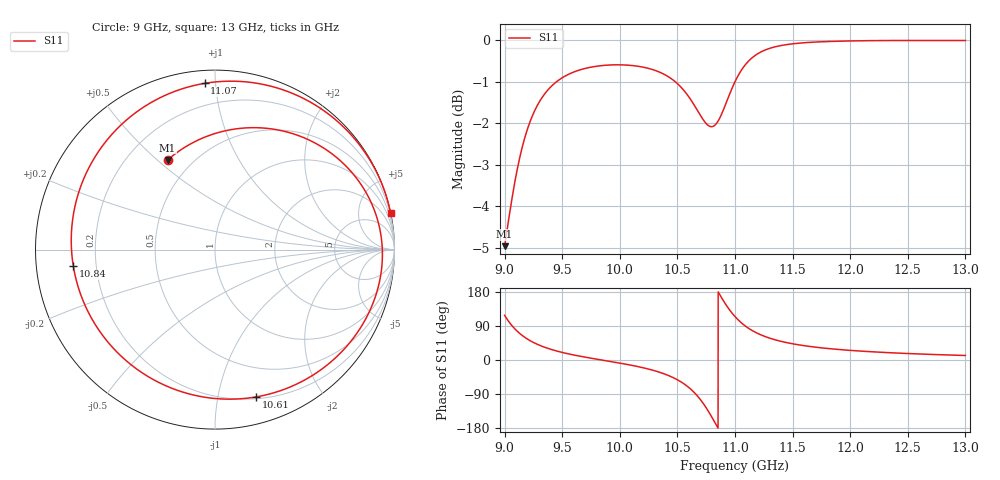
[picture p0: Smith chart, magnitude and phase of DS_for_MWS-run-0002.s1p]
! TOUCHSTONE file generated by CST DESIGN STUDIO
! Date and time: Wed Feb  5 13:36:07 2025
! Project name: C:\Work\MatlabApps\UnitCellOptimizationMatlab\CST\unitcell.cst
! Tree item: Tasks\Sweep1\SPara1\S-Parameters
! Header version: 2024
! Port assignment regex: !\s*Touchstone port\s*([0-9]+)\s*=\s*(CST MWS port|CST DES external port|CST DES block port)\s*(.+)\s* \(\"(.*)\"\)(\s*mode\s*([0-9]+))?.*
! Touchstone port assignment:
! Touchstone port 1 = CST DES external port 1 ("")
# GHz S MA R 50
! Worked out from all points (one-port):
!   4001 points, 9 GHz to 13 GHz, reference 50 ohm
!   lowest |S11| = -5.0 dB at 9 GHz (marker M1), VSWR 3.60, Z = 18.4 + j27 ohm
!   |S11| at or under -10 dB: nowhere
!   S11 on the Smith chart (normalised r, x): 9 GHz: 0.37, +0.54; 10.61 GHz: 0.22, -1.30; 10.84 GHz: 0.11, -0.06; 11.07 GHz: 0.07, +0.94; 13 GHz: 0.03, +9.60
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9  0.565 117.8
9.101  0.6893 78.4
9.232  0.8053 49.2
9.351  0.8631 33.3
9.5  0.9013 20.0
9.725  0.9267 6.1
10  0.9343 -8.2
10.302  0.9204 -28.3
10.41  0.906 -39.4
10.5  0.8869 -52.2
10.606  0.8522 -74.3
10.673  0.8237 -94.6
10.729  0.8005 -116.7
10.781  0.7878 -141.5
10.841  0.7947 -173.3
10.874  0.8095 169.2
10.908  0.8303 152.2
10.954  0.8618 131.7
11  0.8915 114.6
11.073  0.9281 93.6
11.159  0.9553 76.1
11.253  0.9723 62.8
11.364  0.9833 52.0
11.5  0.9903 42.8
11.711  0.9954 33.4
12  0.9982 25.4
12.5  0.9996 17.1
13  0.9994 11.9
